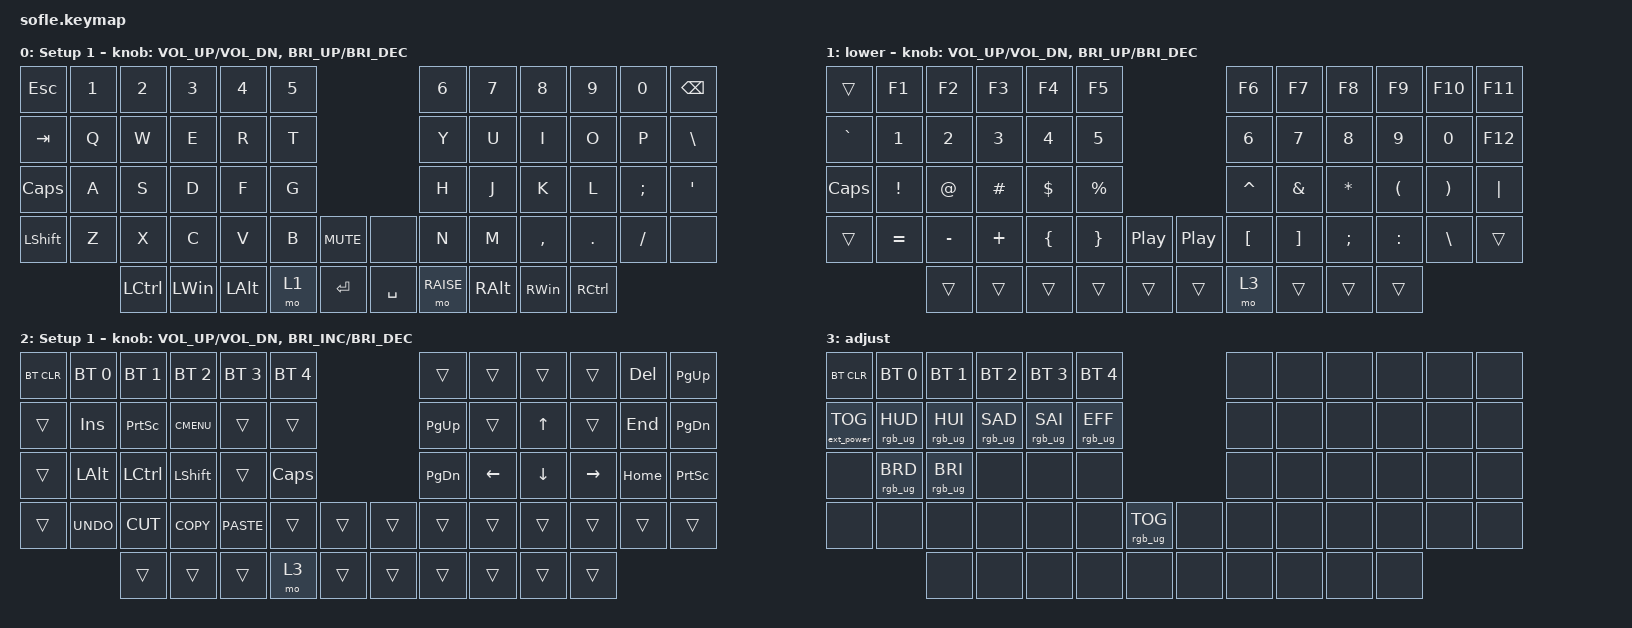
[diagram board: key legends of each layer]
/*
 * Copyright (c) 2020 The ZMK Contributors
 *
 * SPDX-License-Identifier: MIT
 */

#include <behaviors.dtsi>
#include <dt-bindings/zmk/bt.h>
#include <dt-bindings/zmk/ext_power.h>
#include <dt-bindings/zmk/keys.h>
#include <dt-bindings/zmk/rgb.h>

#define BASE 0
#define LOWER 1
#define RAISE 2
#define ADJUST 3

/ {
    // Activate ADJUST layer by pressing raise and lower

    conditional_layers {
        compatible = "zmk,conditional-layers";

        adjust_layer {
            if-layers = <LOWER RAISE>;
            then-layer = <ADJUST>;
        };
    };

    keymap {
        compatible = "zmk,keymap";

        Main-Layer {
            display-name = "Setup 1";

            // ------------------------------------------------------------------------------------------------------------
            // |   `   |  1  |  2  |  3   |  4   |  5   |                   |  6   |  7    |  8    |  9   |   0   |       |
            // |  ESC  |  Q  |  W  |  E   |  R   |  T   |                   |  Y   |  U    |  I    |  O   |   P   | BKSPC |
            // |  TAB  |  A  |  S  |  D   |  F   |  G   |                   |  H   |  J    |  K    |  L   |   ;   |   '   |
            // | SHIFT |  Z  |  X  |  C   |  V   |  B   |  MUTE  |  |       |  N   |  M    |  ,    |  .   |   /   | SHIFT |
            //               | GUI | ALT  | CTRL | LOWER|  ENTER |  | SPACE | RAISE| CTRL  | ALT   | GUI  |

            bindings = <
&kp ESC         &kp N1  &kp N2            &kp N3    &kp N4        &kp N5                           &kp N6     &kp N7         &kp N8         &kp N9             &kp N0    &kp BACKSPACE
&kp TAB         &kp Q   &kp W             &kp E     &kp R         &kp T                            &kp Y      &kp U          &kp I          &kp O              &kp P     &kp BSLH
&kp CAPSLOCK    &kp A   &kp S             &kp D     &kp F         &kp G                            &kp H      &kp J          &kp K          &kp L              &kp SEMI  &kp SQT
&kp LEFT_SHIFT  &kp Z   &kp X             &kp C     &kp V         &kp B   &kp C_MUTE    &none      &kp N      &kp M          &kp COMMA      &kp DOT            &kp FSLH  &none
                        &kp LEFT_CONTROL  &kp LWIN  &kp LEFT_ALT  &mo 1   &kp RET       &kp SPACE  &mo RAISE  &kp RIGHT_ALT  &kp RIGHT_WIN  &kp RIGHT_CONTROL
            >;

            sensor-bindings =
                <&inc_dec_kp C_VOL_UP C_VOL_DN>,
                <&inc_dec_kp C_BRI_UP C_BRIGHTNESS_DEC>;
        };

        lower_layer {
            display-name = "lower";

            // TODO: Some binds are waiting for shifted keycode support.
            // ------------------------------------------------------------------------------------------------------------
            // |       |  F1 |  F2 |  F3  |  F4  |  F5  |                   |  F6  |  F7   |  F8   |  F9  |  F10  |  F11  |
            // |   `   |  1  |  2  |  3   |  4   |  5   |                   |  6   |  7    |  8    |  9   |   0   |  F12  |
            // |       |  !  |  @  |  #   |  $   |  %   |                   |  ^   |  &    |  *    |  (   |   )   |   |   |
            // |       |  =  |  -  |  +   |  {   |  }   |        |  |       |  [   |  ]    |  ;    |  :   |   \   |       |
            //               |     |      |      |      |        |  |       |      |       |       |      |

            bindings = <
&trans        &kp F1     &kp F2     &kp F3    &kp F4    &kp F5                                           &kp F6     &kp F7    &kp F8     &kp F9     &kp F10   &kp F11
&kp GRAVE     &kp N1     &kp N2     &kp N3    &kp N4    &kp N5                                           &kp N6     &kp N7    &kp N8     &kp N9     &kp N0    &kp F12
&kp CAPSLOCK  &kp EXCL   &kp AT     &kp HASH  &kp DLLR  &kp PRCNT                                        &kp CARET  &kp AMPS  &kp ASTRK  &kp LPAR   &kp RPAR  &kp PIPE
&trans        &kp EQUAL  &kp MINUS  &kp PLUS  &kp LBRC  &kp RBRC   &kp C_PLAY_PAUSE    &kp C_PLAY_PAUSE  &kp LBKT   &kp RBKT  &kp SEMI   &kp COLON  &kp BSLH  &trans
                         &trans     &trans    &trans    &trans     &trans              &trans            &mo 3      &trans    &trans     &trans
            >;

            sensor-bindings =
                <&inc_dec_kp C_VOL_UP C_VOL_DN>,
                <&inc_dec_kp C_BRI_UP C_BRIGHTNESS_DEC>;
        };

        Alt-Fn-Layer {
            display-name = "Setup 1";

            // ------------------------------------------------------------------------------------------------------------
            // | BTCLR | BT1  | BT2  |  BT3  |  BT4  |  BT5 |                |      |      |       |      |       |       |
            // |       | INS  | PSCR | GUI   |       |      |                | PGUP |      |   ^   |      |       |       |
            // |       | ALT  | CTRL | SHIFT |       | CAPS |                | PGDN |   <- |   v   |  ->  |  DEL  | BKSPC |
            // |       | UNDO | CUT  | COPY  | PASTE |      |      |  |      |      |      |       |      |       |       |
            //                |      |       |       |      |      |  |      |      |      |       |      |

            bindings = <
&bt BT_CLR  &bt BT_SEL 0  &bt BT_SEL 1  &bt BT_SEL 2  &bt BT_SEL 3  &bt BT_SEL 4                    &trans     &trans    &trans    &trans     &kp DELETE  &kp PAGE_UP
&trans      &kp INS       &kp PSCRN     &kp K_CMENU   &trans        &trans                          &kp PG_UP  &trans    &kp UP    &trans     &kp END     &kp PAGE_DOWN
&trans      &kp LALT      &kp LCTRL     &kp LSHFT     &trans        &kp CLCK                        &kp PG_DN  &kp LEFT  &kp DOWN  &kp RIGHT  &kp HOME    &kp PRINTSCREEN
&trans      &kp K_UNDO    &kp K_CUT     &kp K_COPY    &kp K_PASTE   &trans        &trans    &trans  &trans     &trans    &trans    &trans     &trans      &trans
                          &trans        &trans        &trans        &mo 3         &trans    &trans  &trans     &trans    &trans    &trans
            >;

            sensor-bindings =
                <&inc_dec_kp C_VOL_UP C_VOL_DN>,
                <&inc_dec_kp C_BRIGHTNESS_INC C_BRI_DEC>;
        };

        adjust_layer {
            // ----------------------------------------------------------------------------------------------------------------------------
            // | BTCLR  |  BT1    |  BT2    |   BT3   |   BT4   |   BT5   |                  |      |      |       |      |       |       |
            // | EXTPWR | RGB_HUD | RGB_HUI | RGB_SAD | RGB_SAI | RGB_EFF |                  |      |      |       |      |       |       |
            // |        | RGB_BRD | RGB_BRI |         |         |         |                  |      |      |       |      |       |       |
            // |        |         |         |         |         |         | RGB_TOG | |      |      |      |       |      |       |       |
            //                    |         |         |         |         |         | |      |      |      |       |      |

            display-name = "adjust";
            bindings = <
&bt BT_CLR         &bt BT_SEL 0     &bt BT_SEL 1     &bt BT_SEL 2     &bt BT_SEL 3     &bt BT_SEL 4                               &none  &none  &none  &none  &none  &none
&ext_power EP_TOG  &rgb_ug RGB_HUD  &rgb_ug RGB_HUI  &rgb_ug RGB_SAD  &rgb_ug RGB_SAI  &rgb_ug RGB_EFF                            &none  &none  &none  &none  &none  &none
&none              &rgb_ug RGB_BRD  &rgb_ug RGB_BRI  &none            &none            &none                                      &none  &none  &none  &none  &none  &none
&none              &none            &none            &none            &none            &none            &rgb_ug RGB_TOG    &none  &none  &none  &none  &none  &none  &none
                                    &none            &none            &none            &none            &none              &none  &none  &none  &none  &none
            >;
        };
    };
};
